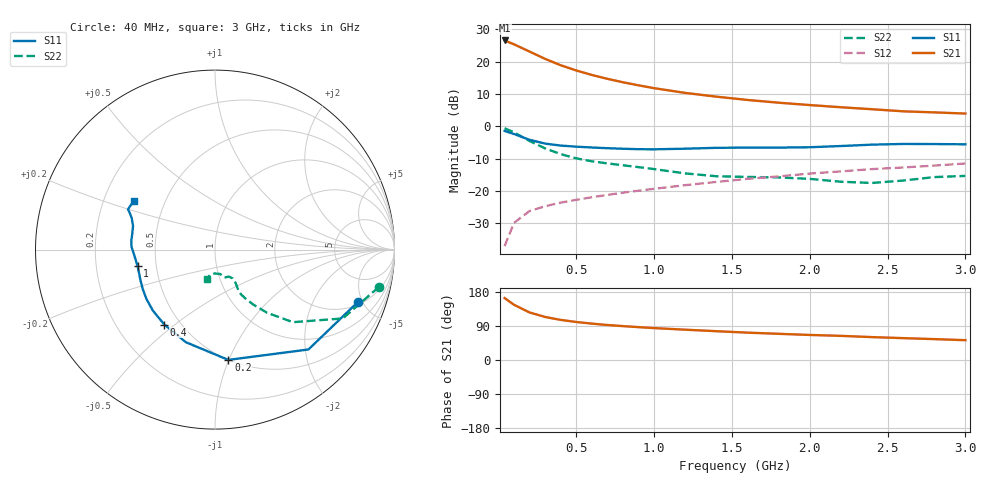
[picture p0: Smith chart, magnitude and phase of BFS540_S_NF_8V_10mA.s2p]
! Filename:  BFS540H.S2P  Version:  4.0
! Philips part #: BFS540  Date: Jun 1994
! Bias condition: Vce=8V, Ic=10mA
#  MHz  S  MA  R  50
! Freq  S11  S21  S12  S22  !GUM [dB]
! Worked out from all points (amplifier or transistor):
!   21 points, 40 MHz to 3 GHz, reference 50 ohm
!   highest |S21| = 26.6 dB at 40 MHz (marker M1)
!   |S21| within 3 dB of that: start of sweep to 180.6 MHz
!   unconditionally stable (mu >= 1): 930.9 MHz to end of sweep
!   at 300 MHz: K = 0.56, MSG = 22.8 dB, |S12| = -24.7 dB
!   at 1 GHz: K = 1.03, MAG = 14.6 dB, |S12| = -19.3 dB
!   at 3 GHz: K = 1.02, MAG = 6.8 dB, |S12| = -11.5 dB
!   lowest NFmin = 1.10 dB at 500 MHz
!   S11 on the Smith chart (normalised r, x): 40 MHz: 2.23, -4.64; 200 MHz: 0.50, -1.00; 400 MHz: 0.41, -0.46; 1 GHz: 0.39, -0.09; 3 GHz: 0.33, +0.25
40  0.849 -20.0  21.31 163.4  0.014 78.4  0.936 -12.9
100  0.762 -46.9  18.59 145.8  0.032 65.6  0.809 -28.3
200  0.619 -83.1  14.35 125.5  0.049 54.5  0.593 -43.0
300  0.541 -107.5  11.06 113.6  0.058 51.4  0.456 -50.5
400  0.504 -124.1  8.822 105.8  0.066 51.3  0.372 -55.2
500  0.485 -135.6  7.317 100.3  0.073 52.2  0.32 -58.2
600  0.471 -144.1  6.243 96.0  0.08 53.7  0.288 -59.8
700  0.459 -151.1  5.435 92.4  0.087 55.6  0.267 -60.3
800  0.45 -157.0  4.808 89.4  0.094 57.4  0.25 -59.7
900  0.443 -162.6  4.31 86.7  0.101 58.7  0.234 -59.0
1000  0.441 -167.8  3.895 84.2  0.108 60.0  0.218 -58.3
1200  0.451 -176.1  3.291 80.0  0.123 62.4  0.187 -58.7
1400  0.465 178.3  2.879 76.0  0.138 64.3  0.169 -63.0
1600  0.469 174.2  2.56 72.2  0.154 64.8  0.165 -69.2
1800  0.469 169.6  2.322 69.1  0.168 66.1  0.162 -71.6
2000  0.475 164.0  2.134 66.1  0.186 66.9  0.154 -72.8
2200  0.496 159.3  1.974 63.7  0.201 67.8  0.139 -78.1
2400  0.521 156.3  1.839 60.4  0.218 68.0  0.133 -90.4
2600  0.534 155.2  1.707 57.7  0.231 67.5  0.145 -101.6
2800  0.532 153.3  1.644 55.1  0.247 67.8  0.164 -104.5
3000  0.527 149.3  1.577 52.3  0.266 67.6  0.171 -105.4
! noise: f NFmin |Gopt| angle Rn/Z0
500  1.1  0.225  59  0.17
900  1.3  0.255  113  0.16
2000  2.1  0.459  -171  0.1
